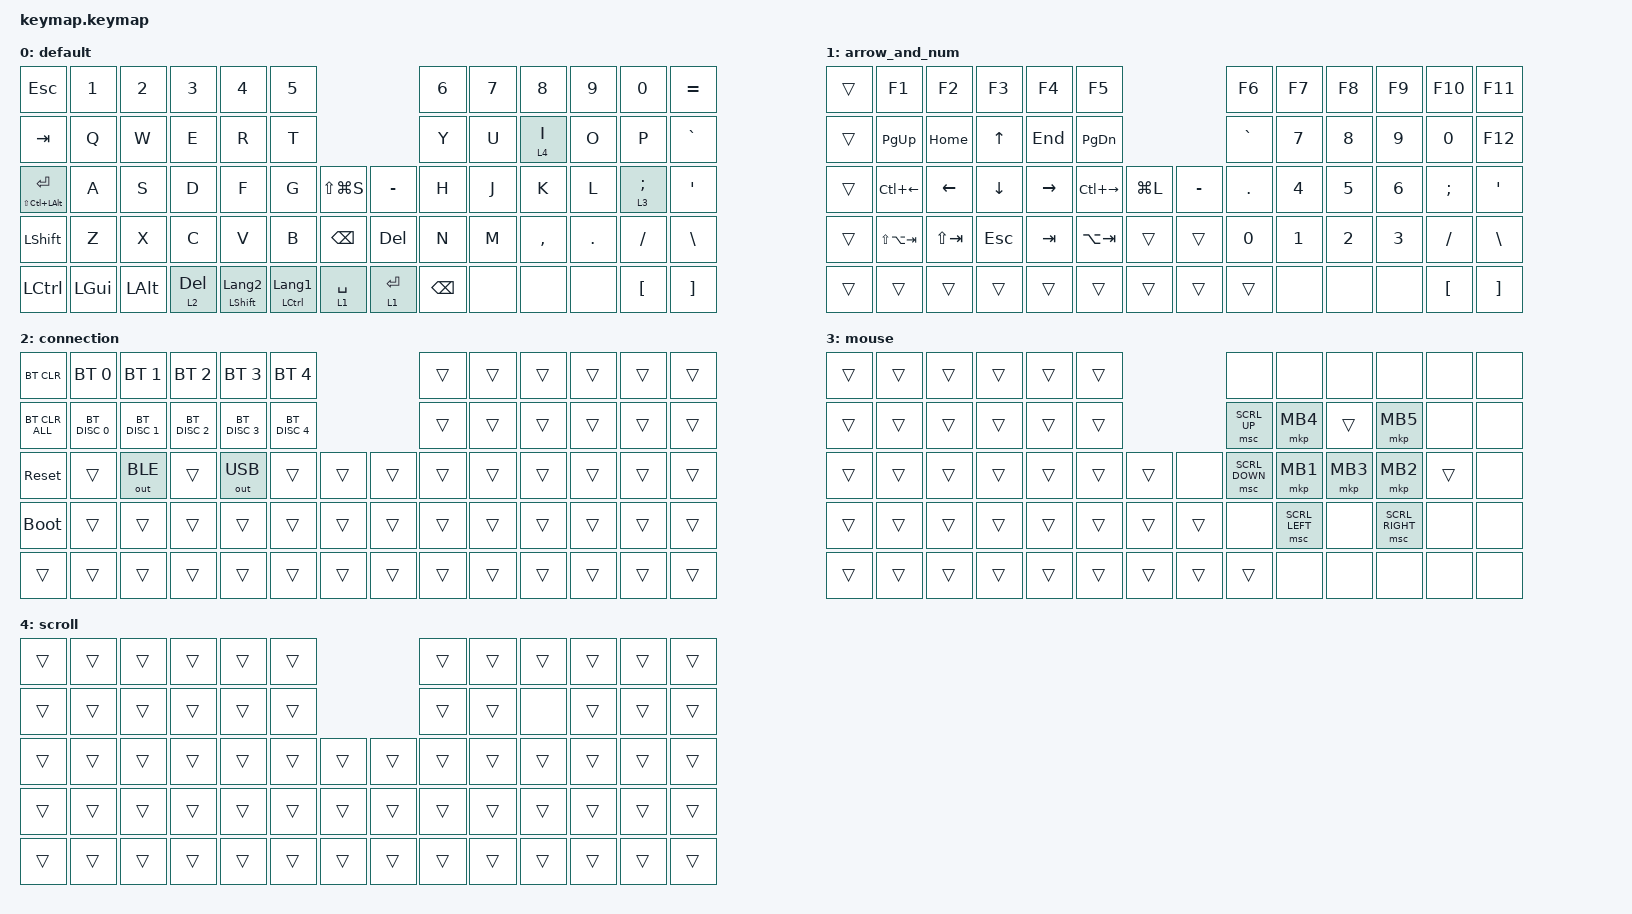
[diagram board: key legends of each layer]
#include <behaviors.dtsi>
#include <dt-bindings/zmk/bt.h>
#include <dt-bindings/zmk/keys.h>
#include <dt-bindings/zmk/outputs.h>
#include <dt-bindings/zmk/pointing.h>

/ {
    combos {
        compatible = "zmk,combos";

        connection {
            bindings = <&mo 2>;
            key-positions = <59 60>;
        };

        mkp_mb1 {
            bindings = <&mkp MB1>;
            key-positions = <33 34>;
        };

        mkp_mb2 {
            bindings = <&mkp MB2>;
            key-positions = <34 35>;
        };

        mkp_mb3 {
            bindings = <&mkp MB3>;
            key-positions = <35 33>;
        };
    };

    keymap {
        compatible = "zmk,keymap";

        default {
            bindings = <
&kp ESC                     &kp N1    &kp N2    &kp N3        &kp N4                 &kp N5                                            &kp N6         &kp N7  &kp N8     &kp N9   &kp N0            &kp EQUAL
&kp TAB                     &kp Q     &kp W     &kp E         &kp R                  &kp T                                             &kp Y          &kp U   &lt 4 I    &kp O    &kp P             &kp GRAVE
&mt LS(LC(LEFT_ALT)) ENTER  &kp A     &kp S     &kp D         &kp F                  &kp G                 &kp LS(LG(S))  &kp MINUS    &kp H          &kp J   &kp K      &kp L    &lt 3 SEMI        &kp SQT
&kp LSHFT                   &kp Z     &kp X     &kp C         &kp V                  &kp B                 &kp BACKSPACE  &kp DELETE   &kp N          &kp M   &kp COMMA  &kp DOT  &kp SLASH         &kp BACKSLASH
&kp LCTRL                   &kp LGUI  &kp LALT  &lt 2 DELETE  &mt LSHIFT LANGUAGE_2  &mt LCTRL LANGUAGE_1  &lt 1 SPACE    &lt 1 ENTER  &kp BACKSPACE  &none   &none      &none    &kp LEFT_BRACKET  &kp RIGHT_BRACKET
            >;
        };

        arrow_and_num {
            bindings = <
&trans  &kp F1           &kp F2       &kp F3    &kp F4     &kp F5                               &kp F6      &kp F7  &kp F8  &kp F9  &kp F10   &kp F11
&trans  &kp PAGE_UP      &kp HOME     &kp UP    &kp END    &kp PAGE_DOWN                        &kp GRAVE   &kp N7  &kp N8  &kp N9  &kp N0    &kp F12
&trans  &kp LC(LEFT)     &kp LEFT     &kp DOWN  &kp RIGHT  &kp LC(RIGHT)  &kp LG(L)  &kp MINUS  &kp PERIOD  &kp N4  &kp N5  &kp N6  &kp SEMI  &kp APOS
&trans  &kp LS(LA(TAB))  &kp LS(TAB)  &kp ESC   &kp TAB    &kp LA(TAB)    &trans     &trans     &kp N0      &kp N1  &kp N2  &kp N3  &kp FSLH  &kp BSLH
&trans  &trans           &trans       &trans    &trans     &trans         &trans     &trans     &trans      &none   &none   &none   &kp LBKT  &kp RBKT
            >;
        };

        connection {
            bindings = <
&bt BT_CLR      &bt BT_SEL 0   &bt BT_SEL 1   &bt BT_SEL 2   &bt BT_SEL 3   &bt BT_SEL 4                   &trans  &trans  &trans  &trans  &trans  &trans
&bt BT_CLR_ALL  &bt BT_DISC 0  &bt BT_DISC 1  &bt BT_DISC 2  &bt BT_DISC 3  &bt BT_DISC 4                  &trans  &trans  &trans  &trans  &trans  &trans
&sys_reset      &trans         &out OUT_BLE   &trans         &out OUT_USB   &trans         &trans  &trans  &trans  &trans  &trans  &trans  &trans  &trans
&bootloader     &trans         &trans         &trans         &trans         &trans         &trans  &trans  &trans  &trans  &trans  &trans  &trans  &trans
&trans          &trans         &trans         &trans         &trans         &trans         &trans  &trans  &trans  &trans  &trans  &trans  &trans  &trans
            >;
        };

        mouse {
            bindings = <
&trans  &trans  &trans  &trans  &trans  &trans                  &none           &none           &none     &none            &none   &none
&trans  &trans  &trans  &trans  &trans  &trans                  &msc SCRL_UP    &mkp MB4        &trans    &mkp MB5         &none   &none
&trans  &trans  &trans  &trans  &trans  &trans  &trans  &none   &msc SCRL_DOWN  &mkp MB1        &mkp MB3  &mkp MB2         &trans  &none
&trans  &trans  &trans  &trans  &trans  &trans  &trans  &trans  &none           &msc SCRL_LEFT  &none     &msc SCRL_RIGHT  &none   &none
&trans  &trans  &trans  &trans  &trans  &trans  &trans  &trans  &trans          &none           &none     &none            &none   &none
            >;
        };

        scroll {
            bindings = <
&trans  &trans  &trans  &trans  &trans  &trans                  &trans  &trans  &trans  &trans  &trans  &trans
&trans  &trans  &trans  &trans  &trans  &trans                  &trans  &trans  &none   &trans  &trans  &trans
&trans  &trans  &trans  &trans  &trans  &trans  &trans  &trans  &trans  &trans  &trans  &trans  &trans  &trans
&trans  &trans  &trans  &trans  &trans  &trans  &trans  &trans  &trans  &trans  &trans  &trans  &trans  &trans
&trans  &trans  &trans  &trans  &trans  &trans  &trans  &trans  &trans  &trans  &trans  &trans  &trans  &trans
            >;
        };
    };
};
